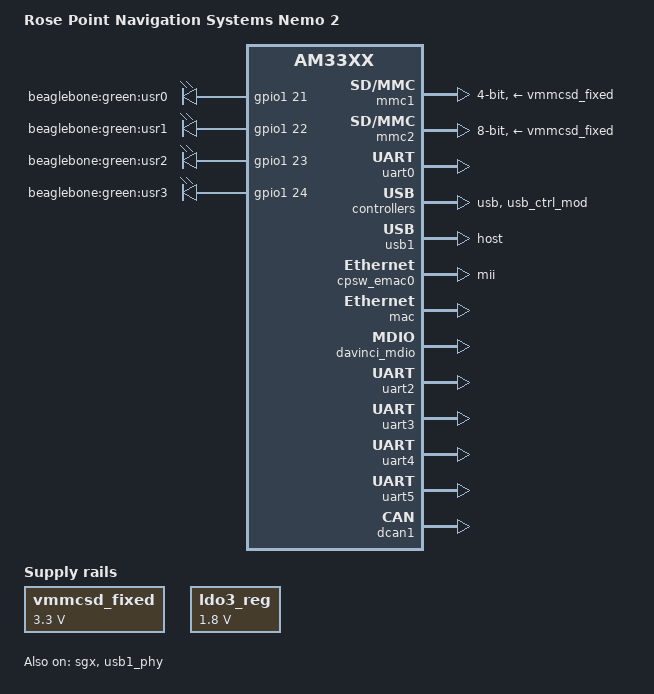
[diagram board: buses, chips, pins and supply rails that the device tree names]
/dts-v1/;

#include "am33xx.dtsi"
#include "am335x-osd335x-common.dtsi"
#include <dt-bindings/interrupt-controller/irq.h>

#include <dt-bindings/display/tda998x.h>
/* #include "am335x-bone-jtag.dtsi" */

&sgx {
	status = "okay";
};

/ {
	model = "Rose Point Navigation Systems Nemo 2";
	compatible = "rpns,osd3358-nemo-2", "ti,am335x-bone-black", "ti,am335x-bone", "ti,am33xx";
};

&ldo3_reg {
	regulator-min-microvolt = <1800000>;
	regulator-max-microvolt = <1800000>;
	regulator-always-on;
};

&mmc1 {
	vmmc-supply = <&vmmcsd_fixed>;
};

&mmc2 {
	vmmc-supply = <&vmmcsd_fixed>;
	pinctrl-names = "default";
	pinctrl-0 = <&emmc_pins>;
	bus-width = <8>;
	status = "okay";
};

&am33xx_pinmux {
	nxp_hdmi_bonelt_pins: nxp-hdmi-bonelt-pins {
		pinctrl-single,pins = <
			AM33XX_IOPAD(0x8a0, PIN_OUTPUT | MUX_MODE0)		/* lcd_data0.lcd_data0 */
			AM33XX_IOPAD(0x8a4, PIN_OUTPUT | MUX_MODE0)		/* lcd_data1.lcd_data1 */
			AM33XX_IOPAD(0x8a8, PIN_OUTPUT | MUX_MODE0)		/* lcd_data2.lcd_data2 */
			AM33XX_IOPAD(0x8ac, PIN_OUTPUT | MUX_MODE0)		/* lcd_data3.lcd_data3 */
			AM33XX_IOPAD(0x8b0, PIN_OUTPUT | MUX_MODE0)		/* lcd_data4.lcd_data4 */
			AM33XX_IOPAD(0x8b4, PIN_OUTPUT | MUX_MODE0)		/* lcd_data5.lcd_data5 */
			AM33XX_IOPAD(0x8b8, PIN_OUTPUT | MUX_MODE0)		/* lcd_data6.lcd_data6 */
			AM33XX_IOPAD(0x8bc, PIN_OUTPUT | MUX_MODE0)		/* lcd_data7.lcd_data7 */
			AM33XX_IOPAD(0x8c0, PIN_OUTPUT | MUX_MODE0)		/* lcd_data8.lcd_data8 */
			AM33XX_IOPAD(0x8c4, PIN_OUTPUT | MUX_MODE0)		/* lcd_data9.lcd_data9 */
			AM33XX_IOPAD(0x8c8, PIN_OUTPUT | MUX_MODE0)		/* lcd_data10.lcd_data10 */
			AM33XX_IOPAD(0x8cc, PIN_OUTPUT | MUX_MODE0)		/* lcd_data11.lcd_data11 */
			AM33XX_IOPAD(0x8d0, PIN_OUTPUT | MUX_MODE0)		/* lcd_data12.lcd_data12 */
			AM33XX_IOPAD(0x8d4, PIN_OUTPUT | MUX_MODE0)		/* lcd_data13.lcd_data13 */
			AM33XX_IOPAD(0x8d8, PIN_OUTPUT | MUX_MODE0)		/* lcd_data14.lcd_data14 */
			AM33XX_IOPAD(0x8dc, PIN_OUTPUT | MUX_MODE0)		/* lcd_data15.lcd_data15 */
			AM33XX_IOPAD(0x8e0, PIN_OUTPUT_PULLDOWN | MUX_MODE0)	/* lcd_vsync.lcd_vsync */
			AM33XX_IOPAD(0x8e4, PIN_OUTPUT_PULLDOWN | MUX_MODE0)	/* lcd_hsync.lcd_hsync */
			AM33XX_IOPAD(0x8e8, PIN_OUTPUT_PULLDOWN | MUX_MODE0)	/* lcd_pclk.lcd_pclk */
			AM33XX_IOPAD(0x8ec, PIN_OUTPUT_PULLDOWN | MUX_MODE0)	/* lcd_ac_bias_en.lcd_ac_bias_en */
		>;
	};

	mcasp0_pins: mcasp0-pins {
		pinctrl-single,pins = <
			AM33XX_IOPAD(0x9ac, PIN_INPUT_PULLUP | MUX_MODE0) /* mcasp0_ahcklx.mcasp0_ahclkx */
			AM33XX_IOPAD(0x99c, PIN_OUTPUT_PULLDOWN | MUX_MODE2) /* mcasp0_ahclkr.mcasp0_axr2*/
			AM33XX_IOPAD(0x994, PIN_OUTPUT_PULLUP | MUX_MODE0) /* mcasp0_fsx.mcasp0_fsx */
			AM33XX_IOPAD(0x990, PIN_OUTPUT_PULLDOWN | MUX_MODE0) /* mcasp0_aclkx.mcasp0_aclkx */
			AM33XX_IOPAD(0x86c, PIN_OUTPUT_PULLDOWN | MUX_MODE7) /* gpmc_a11.GPIO1_27 */
		>;
	};

	flash_enable: flash-enable {
		pinctrl-single,pins = <
			AM33XX_IOPAD(0x944, PIN_OUTPUT_PULLDOWN | MUX_MODE7) 	/* rmii1_ref_clk.gpio0_29 */
		>;
	};

	imu_interrupt: imu-interrupt {
		pinctrl-single,pins = <
			AM33XX_IOPAD(0x910, PIN_INPUT_PULLDOWN | MUX_MODE7) 		/* mii1_rx_er.gpio3_2 */
		>;
	};

	ethernet_interrupt: ethernet-interrupt{
		pinctrl-single,pins = <
			AM33XX_IOPAD(0x908, PIN_INPUT_PULLDOWN | MUX_MODE7) 		/* mii1_col.gpio3_0 */
		>;
	};
};

&lcdc {
	status = "disabled";
};

&rtc {
	system-power-controller;
};

&mcasp0 {
	#sound-dai-cells = <0>;
	pinctrl-names = "default";
	pinctrl-0 = <&mcasp0_pins>;
	status = "disabled";
	op-mode = <0>;	/* MCASP_IIS_MODE */
	tdm-slots = <2>;
	serial-dir = <	/* 0: INACTIVE, 1: TX, 2: RX */
			0 0 1 0
		>;
	tx-num-evt = <32>;
	rx-num-evt = <32>;
};

/ {
	chosen {
		stdout-path = &uart0;
	};

	leds {
		pinctrl-names = "default";
		pinctrl-0 = <&user_leds_s0>;

		compatible = "gpio-leds";

		led2 {
			label = "beaglebone:green:usr0";
			gpios = <&gpio1 21 GPIO_ACTIVE_HIGH>;
			linux,default-trigger = "heartbeat";
			default-state = "off";
		};

		led3 {
			label = "beaglebone:green:usr1";
			gpios = <&gpio1 22 GPIO_ACTIVE_HIGH>;
			linux,default-trigger = "mmc0";
			default-state = "off";
		};

		led4 {
			label = "beaglebone:green:usr2";
			gpios = <&gpio1 23 GPIO_ACTIVE_HIGH>;
			linux,default-trigger = "cpu0";
			default-state = "off";
		};

		led5 {
			label = "beaglebone:green:usr3";
			gpios = <&gpio1 24 GPIO_ACTIVE_HIGH>;
			linux,default-trigger = "mmc1";
			default-state = "off";
		};
	};

	vmmcsd_fixed: fixedregulator0 {
		compatible = "regulator-fixed";
		regulator-name = "vmmcsd_fixed";
		regulator-min-microvolt = <3300000>;
		regulator-max-microvolt = <3300000>;
	};
};

&am33xx_pinmux {
	user_leds_s0: user-leds-s0 {
		pinctrl-single,pins = <
			AM33XX_IOPAD(0x854, PIN_OUTPUT_PULLDOWN | MUX_MODE7)	/* gpmc_a5.gpio1_21 */
			AM33XX_IOPAD(0x858, PIN_OUTPUT_PULLUP | MUX_MODE7)	/* gpmc_a6.gpio1_22 */
			AM33XX_IOPAD(0x85c, PIN_OUTPUT_PULLDOWN | MUX_MODE7)	/* gpmc_a7.gpio1_23 */
			AM33XX_IOPAD(0x860, PIN_OUTPUT_PULLUP | MUX_MODE7)	/* gpmc_a8.gpio1_24 */
		>;
	};

	i2c2_pins: pinmux-i2c2-pins {
		pinctrl-single,pins = <
			AM33XX_IOPAD(0x978, PIN_INPUT_PULLUP | MUX_MODE3)	/* uart1_ctsn.i2c2_sda */
			AM33XX_IOPAD(0x97c, PIN_INPUT_PULLUP | MUX_MODE3)	/* uart1_rtsn.i2c2_scl */
		>;
	};

	uart0_pins: pinmux-uart0-pins {
		pinctrl-single,pins = <
			AM33XX_IOPAD(0x970, PIN_INPUT_PULLUP | MUX_MODE0)	/* uart0_rxd.uart0_rxd */
			AM33XX_IOPAD(0x974, PIN_OUTPUT_PULLDOWN | MUX_MODE0)	/* uart0_txd.uart0_txd */
		>;
	};

	cpsw_default: cpsw-default {
		pinctrl-single,pins = <
			/* Slave 1 */
			AM33XX_IOPAD(0x908, PIN_INPUT | MUX_MODE0) 			/* (H16) gmii1_col.gmii1_col */
			AM33XX_IOPAD(0x90c, PIN_INPUT | MUX_MODE0) 			/* (H17) gmii1_crs.gmii1_crs */
			AM33XX_IOPAD(0x910, PIN_INPUT | MUX_MODE0) 			/* (J15) gmii1_rxer.gmii1_rxer */

			AM33XX_IOPAD(0x914, PIN_OUTPUT | MUX_MODE0) 		/* (J16) gmii1_txen.gmii1_txen */
			AM33XX_IOPAD(0x918, PIN_INPUT | MUX_MODE0) 			/* (J17) gmii1_rxdv.gmii1_rxdv */
			AM33XX_IOPAD(0x91c, PIN_OUTPUT | MUX_MODE0) 		/* (J18) gmii1_txd3.gmii1_txd3 */
			AM33XX_IOPAD(0x920, PIN_OUTPUT | MUX_MODE0) 		/* (K15) gmii1_txd2.gmii1_txd2 */
			AM33XX_IOPAD(0x924, PIN_OUTPUT | MUX_MODE0) 		/* (K16) gmii1_txd1.gmii1_txd1 */
			AM33XX_IOPAD(0x928, PIN_OUTPUT | MUX_MODE0) 		/* (K17) gmii1_txd0.gmii1_txd0 */
			AM33XX_IOPAD(0x92c, PIN_INPUT_PULLUP | MUX_MODE0) 	/* (K18) gmii1_txclk.gmii1_txclk */
			AM33XX_IOPAD(0x930, PIN_INPUT_PULLUP | MUX_MODE0) 	/* (L18) gmii1_rxclk.gmii1_rxclk */
			AM33XX_IOPAD(0x934, PIN_INPUT | MUX_MODE0) 			/* (L17) gmii1_rxd3.gmii1_rxd3 */
			AM33XX_IOPAD(0x938, PIN_INPUT | MUX_MODE0) 			/* (L16) gmii1_rxd2.gmii1_rxd2 */
			AM33XX_IOPAD(0x93c, PIN_INPUT | MUX_MODE0) 			/* (L15) gmii1_rxd1.gmii1_rxd1 */
			AM33XX_IOPAD(0x940, PIN_INPUT | MUX_MODE0) 			/* (M16) gmii1_rxd0.gmii1_rxd0 */
		>;
	};

	cpsw_sleep: cpsw-sleep {
		pinctrl-single,pins = <
			/* Slave 1 reset value */
			AM33XX_IOPAD(0x908, PIN_INPUT_PULLDOWN | MUX_MODE7)
			AM33XX_IOPAD(0x90c, PIN_INPUT_PULLDOWN | MUX_MODE7)
			AM33XX_IOPAD(0x910, PIN_INPUT_PULLDOWN | MUX_MODE7)

			AM33XX_IOPAD(0x914, PIN_INPUT_PULLDOWN | MUX_MODE7)
			AM33XX_IOPAD(0x918, PIN_INPUT_PULLDOWN | MUX_MODE7)
			AM33XX_IOPAD(0x91c, PIN_INPUT_PULLDOWN | MUX_MODE7)
			AM33XX_IOPAD(0x920, PIN_INPUT_PULLDOWN | MUX_MODE7)
			AM33XX_IOPAD(0x924, PIN_INPUT_PULLDOWN | MUX_MODE7)
			AM33XX_IOPAD(0x928, PIN_INPUT_PULLDOWN | MUX_MODE7)
			AM33XX_IOPAD(0x92c, PIN_INPUT_PULLDOWN | MUX_MODE7)
			AM33XX_IOPAD(0x930, PIN_INPUT_PULLDOWN | MUX_MODE7)
			AM33XX_IOPAD(0x934, PIN_INPUT_PULLDOWN | MUX_MODE7)
			AM33XX_IOPAD(0x938, PIN_INPUT_PULLDOWN | MUX_MODE7)
			AM33XX_IOPAD(0x93c, PIN_INPUT_PULLDOWN | MUX_MODE7)
			AM33XX_IOPAD(0x940, PIN_INPUT_PULLDOWN | MUX_MODE7)
		>;
	};

	davinci_mdio_default: davinci-mdio-default {
		pinctrl-single,pins = <
			/* MDIO */
			AM33XX_IOPAD(0x948, PIN_INPUT | SLEWCTRL_FAST | MUX_MODE0) /* mdio_data.mdio_data */
			AM33XX_IOPAD(0x94c, PIN_OUTPUT_PULLUP | MUX_MODE0)         /* mdio_clk.mdio_clk */
		>;
	};

	davinci_mdio_sleep: davinci-mdio-sleep {
		pinctrl-single,pins = <
			/* MDIO reset value */
			AM33XX_IOPAD(0x948, PIN_INPUT_PULLDOWN | MUX_MODE7)
			AM33XX_IOPAD(0x94c, PIN_INPUT_PULLDOWN | MUX_MODE7)
		>;
	};

	mmc1_pins: pinmux-mmc1-pins {
		pinctrl-single,pins = <
			AM33XX_IOPAD(0x990, PIN_INPUT | MUX_MODE4) /* (A13) mcasp0_aclkx.mmc0_sdcd */
			AM33XX_IOPAD(0x8fc, PIN_INPUT | MUX_MODE0) /* (G16) mmc0_dat0.mmc0_dat0 */
			AM33XX_IOPAD(0x8f8, PIN_INPUT | MUX_MODE0) /* (G15) mmc0_dat1.mmc0_dat1 */
			AM33XX_IOPAD(0x8f4, PIN_INPUT | MUX_MODE0) /* (F18) mmc0_dat2.mmc0_dat2 */
			AM33XX_IOPAD(0x8f0, PIN_INPUT | MUX_MODE0) /* (F17) mmc0_dat3.mmc0_dat3 */
			AM33XX_IOPAD(0x904, PIN_INPUT | MUX_MODE0) /* (G18) mmc0_cmd.mmc0_cmd */
			AM33XX_IOPAD(0x900, PIN_INPUT | MUX_MODE0) /* (G17) mmc0_clk.mmc0_clk */
		>;
	};

	emmc_pins: pinmux-emmc-pins {
		pinctrl-single,pins = <
			AM33XX_IOPAD(0x880, PIN_INPUT_PULLUP | MUX_MODE2) /* gpmc_csn1.mmc1_clk */
			AM33XX_IOPAD(0x884, PIN_INPUT_PULLUP | MUX_MODE2) /* gpmc_csn2.mmc1_cmd */
			AM33XX_IOPAD(0x800, PIN_INPUT_PULLUP | MUX_MODE1) /* gpmc_ad0.mmc1_dat0 */
			AM33XX_IOPAD(0x804, PIN_INPUT_PULLUP | MUX_MODE1) /* gpmc_ad1.mmc1_dat1 */
			AM33XX_IOPAD(0x808, PIN_INPUT_PULLUP | MUX_MODE1) /* gpmc_ad2.mmc1_dat2 */
			AM33XX_IOPAD(0x80c, PIN_INPUT_PULLUP | MUX_MODE1) /* gpmc_ad3.mmc1_dat3 */
			AM33XX_IOPAD(0x810, PIN_INPUT_PULLUP | MUX_MODE1) /* gpmc_ad4.mmc1_dat4 */
			AM33XX_IOPAD(0x814, PIN_INPUT_PULLUP | MUX_MODE1) /* gpmc_ad5.mmc1_dat5 */
			AM33XX_IOPAD(0x818, PIN_INPUT_PULLUP | MUX_MODE1) /* gpmc_ad6.mmc1_dat6 */
			AM33XX_IOPAD(0x81c, PIN_INPUT_PULLUP | MUX_MODE1) /* gpmc_ad7.mmc1_dat7 */
		>;
	};

	dcan1_pins_default: dcan1_pins_default {
		pinctrl-single,pins = <
			AM33XX_IOPAD(0x984, PIN_INPUT | MUX_MODE2) /* (D15) uart1_txd.dcan1_rx */
			AM33XX_IOPAD(0x980, PIN_OUTPUT | MUX_MODE2) /* (D16) uart1_rxd.dcan1_tx */
		>;
	};

	uart2_rxonly_pins_default: uart2_rxonly_pins_default {
		pinctrl-single,pins = <
			AM33XX_IOPAD(0x950, PIN_INPUT | MUX_MODE1) /* (A17) spi0_sclk.uart2_rxd */
		>;
	};

	uart3_rxonly_pins_default: uart3_rxonly_pins_default {
		pinctrl-single,pins = <
			AM33XX_IOPAD(0x960, PIN_INPUT | MUX_MODE1) /* (C15) spi0_cs1.uart3_rxd */
		>;
	};

	uart4_pins_default: uart4_pins_default {
		pinctrl-single,pins = <
			AM33XX_IOPAD(0x870, PIN_INPUT | MUX_MODE6) /* (T17) gpmc_wait0.uart4_rxd */
			AM33XX_IOPAD(0x874, PIN_OUTPUT | MUX_MODE6) /* (U17) gpmc_wpn.uart4_txd */
		>;
	};

	uart5_pins_default: uart5_pins_default {
		pinctrl-single,pins = <
			AM33XX_IOPAD(0x8c4, PIN_INPUT | MUX_MODE4) /* (U2) lcd_data9.uart5_rxd */
			AM33XX_IOPAD(0x8c0, PIN_OUTPUT | MUX_MODE4) /* (U1) lcd_data8.uart5_txd */
		>;
	};
};

&uart0 {
	pinctrl-names = "default";
	pinctrl-0 = <&uart0_pins>;

	status = "okay";
};

&usb {
	status = "okay";
};

&usb_ctrl_mod {
	status = "okay";
};

&usb0_phy {
	status = "disabled";
};

&usb1_phy {
	status = "okay";
};

&usb0 {
	status = "disabled";
	dr_mode = "peripheral";
	interrupts-extended = <&intc 18 &tps 0>;
	interrupt-names = "mc", "vbus";
};

&usb1 {
	status = "okay";
	dr_mode = "host";
};

&cppi41dma  {
	status = "okay";
};

&i2c2 {
	pinctrl-names = "default";
	pinctrl-0 = <&i2c2_pins>;
	status = "disabled";
	clock-frequency = <100000>;
};

&cpsw_emac0 {
	phy_id = <&davinci_mdio>, <1>;
	phy-mode = "mii";
};

&mac {
	slaves = <1>;
	pinctrl-names = "default", "sleep";
	pinctrl-0 = <&cpsw_default>;
	pinctrl-1 = <&cpsw_sleep>;
	status = "okay";
};

&davinci_mdio {
	pinctrl-names = "default", "sleep";
	pinctrl-0 = <&davinci_mdio_default>;
	pinctrl-1 = <&davinci_mdio_sleep>;
	status = "okay";
};

&mmc1 {
	status = "okay";
	bus-width = <0x4>;
	pinctrl-names = "default";
	pinctrl-0 = <&mmc1_pins>;
};

&rtc {
	clocks = <&clk_32768_ck>, <&l4_per_clkctrl AM3_CLKDIV32K_CLKCTRL 0>;
	clock-names = "ext-clk", "int-clk";
};

&uart2 {
	status = "okay";
	pinctrl-names = "default";
	pinctrl-0 = <&uart2_rxonly_pins_default>;   /* NOTE: Receive only port */
};

&uart3 {
	status = "okay";
	pinctrl-names = "default";
	pinctrl-0 = <&uart3_rxonly_pins_default>;   /* NOTE: Receive only port */
};

&uart4 {
	status = "okay";
	pinctrl-names = "default";
	pinctrl-0 = <&uart4_pins_default>;
};

&uart5 {
	status = "okay";
	pinctrl-names = "default";
	pinctrl-0 = <&uart5_pins_default>;
};

&dcan1 {
	status = "okay";
	pinctrl-names = "default";
	pinctrl-0 = <&dcan1_pins_default>;
};
